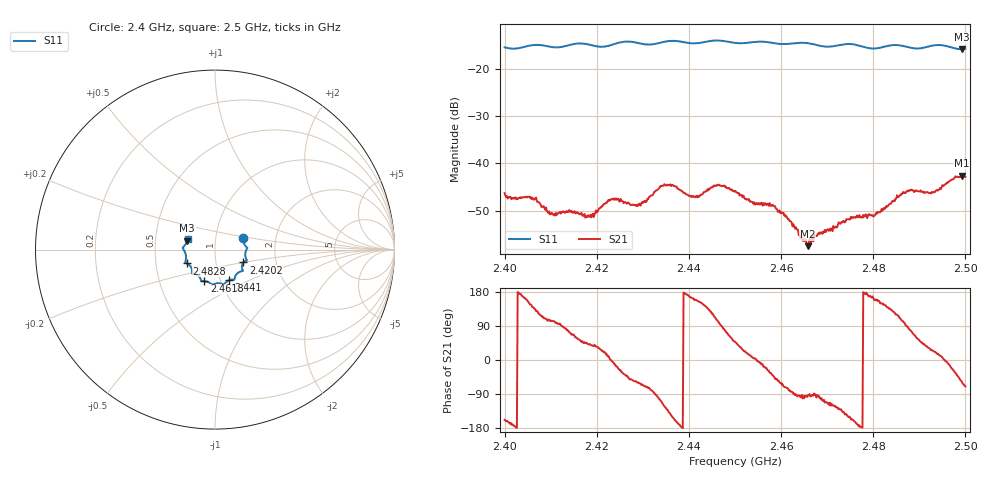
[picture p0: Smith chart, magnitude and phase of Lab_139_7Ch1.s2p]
# Hz S RI R 50
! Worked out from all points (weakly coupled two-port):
!   601 points, 2.4 GHz to 2.5 GHz, reference 50 ohm
!   highest |S21| = -42.63 dB at 2.4992 GHz (marker M1); lowest = -57.5 dB at 2.4658 GHz (marker M2)
!   lowest |S11| = -15.8 dB at 2.4992 GHz (marker M3), VSWR 1.39, Z = 36.4 + j3.72 ohm
!   |S11| at or under -10 dB: start of sweep to end of sweep
!   S12 and S22 are empty: the file has one direction only
!   S11 on the Smith chart (normalised r, x): 2.4 GHz: 1.36, +0.17; 2.4202 GHz: 1.36, -0.20; 2.441 GHz: 1.10, -0.39; 2.4618 GHz: 0.84, -0.30; 2.4828 GHz: 0.72, -0.11; 2.5 GHz: 0.73, +0.09
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2.4e9  0.1583 0.0619  -0.00448 -0.00182  0 0  0 0
2.406333e9  0.1797 0.0105  -0.00304 0.00277  0 0  0 0
2.410333e9  0.1709 -0.0103  -0.000651 0.00289  0 0  0 0
2.416667e9  0.1769 -0.0603  0.00201 0.00221  0 0  0 0
2.420167e9  0.158 -0.0718  0.00254 0.00175  0 0  0 0
2.423667e9  0.1508 -0.1043  0.00409 -0.000511  0 0  0 0
2.429e9  0.1449 -0.1213  0.00185 -0.00309  0 0  0 0
2.433333e9  0.1118 -0.151  -0.000829 -0.00525  0 0  0 0
2.436333e9  0.1088 -0.1669  -0.00505 -0.00305  0 0  0 0
2.441e9  0.0782 -0.1702  -0.0043 0.00136  0 0  0 0
2.445833e9  0.0502 -0.1948  -0.00193 0.0055  0 0  0 0
2.45e9  0.0279 -0.1874  0.00344 0.00378  0 0  0 0
2.458333e9  -0.0281 -0.187  0.00262 -0.0024  0 0  0 0
2.461833e9  -0.0599 -0.1757  0.000427 -0.00242  0 0  0 0
2.465833e9  -0.0774 -0.1716  -7.29e-05 -0.00132  0 0  0 0
2.466667e9  -0.0788 -0.1677  -7.44e-05 -0.00167  0 0  0 0
2.482833e9  -0.1572 -0.0768  -0.00275 0.00222  0 0  0 0
2.483333e9  -0.1602 -0.0752  -0.00269 0.00241  0 0  0 0
2.487833e9  -0.1618 -0.0507  0.000831 0.0051  0 0  0 0
2.492833e9  -0.1772 0.00386  0.00443 0.0021  0 0  0 0
2.499167e9  -0.155 0.0498  0.00411 -0.00614  0 0  0 0
2.5e9  -0.1525 0.0611  0.00251 -0.00675  0 0  0 0
